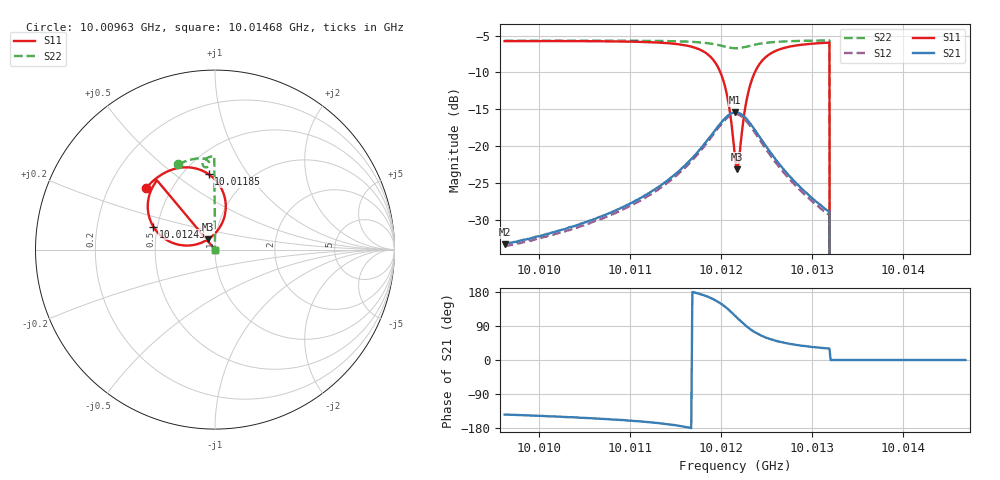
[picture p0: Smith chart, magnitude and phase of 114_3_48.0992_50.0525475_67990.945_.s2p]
#  HZ  S  RI  R  50.00
! Rohde & Schwarz Vector Network Analyzer
! Rohde-Schwarz,ZNB20-2Port,1311601062101988,3.16
! Created: UTC 12/23/2023, 3:46:06 AM
! freq[Hz]  re:S11  im:S11  re:S21  im:S21  re:S12  im:S12  re:S22  im:S22
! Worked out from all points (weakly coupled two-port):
!   401 points, 10.00963 GHz to 10.01468 GHz, reference 50 ohm
!   highest |S21| = -15.42 dB at 10.01215 GHz (marker M1); lowest = -33.3 dB at 10.00963 GHz (marker M2)
!   lowest |S11| = -23.2 dB at 10.01218 GHz (marker M3), VSWR 1.15, Z = 45.8 + j5.21 ohm
!   |S11| at or under -10 dB: 10.01199 GHz to 10.01237 GHz (377.4 kHz wide, 0.00377 % of centre); 10.01319 GHz to end of sweep
!   |S22| runs from - to -5.7 dB; largest |S21 - S12| = 0.008
!   S11 on the Smith chart (normalised r, x): 10.00963 GHz: 0.36, +0.34; 10.01185 GHz: 0.66, +0.67; 10.01243 GHz: 0.48, +0.14; 10.01468 GHz: 1.00, +0.00
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1.0009628e10  -0.3849 0.3426  -0.0175 -0.0127  -0.0163 -0.0132  -0.2043 0.4763
1.0010474e10  -0.3296 0.3954  -0.0266 -0.0137  -0.0249 -0.0145  -0.1508 0.4964
1.0010916e10  -0.2873 0.4242  -0.0356 -0.0142  -0.0338 -0.0151  -0.1209 0.5044
1.0011321e10  -0.227 0.4494  -0.0517 -0.0123  -0.0492 -0.0143  -0.0906 0.5088
1.0011624e10  -0.1451 0.4581  -0.0758 -0.00365  -0.0728 -0.00722  -0.0642 0.5075
1.0011851e10  -0.0347 0.4196  -0.1068 0.0235  -0.1047 0.0177  -0.0417 0.4975
1.0011965e10  0.0336 0.3439  -0.1212 0.0594  -0.121 0.052  -0.033 0.4846
1.0012041e10  0.0598 0.2525  -0.1202 0.0952  -0.1214 0.0874  -0.0326 0.4726
1.0012091e10  0.0507 0.1761  -0.1079 0.1226  -0.1102 0.1154  -0.0367 0.4644
1.0012154e10  -0.00536 0.0843  -0.0768 0.1509  -0.0805 0.1441  -0.0468 0.4585
1.001218e10  -0.0404 0.0566  -0.0607 0.1577  -0.0649 0.1512  -0.0516 0.458
1.0012205e10  -0.0798 0.0366  -0.0444 0.1609  -0.0479 0.155  -0.0563 0.4591
1.0012255e10  -0.1638 0.0225  -0.0115 0.1581  -0.0157 0.1527  -0.0641 0.4643
1.0012306e10  -0.2372 0.0377  0.0152 0.1457  0.0096 0.1407  -0.0685 0.472
1.0012357e10  -0.2926 0.0697  0.033 0.1288  0.0277 0.1246  -0.0697 0.4803
1.0012432e10  -0.3435 0.1281  0.047 0.1033  0.0412 0.1006  -0.0668 0.4908
1.0012635e10  -0.3745 0.2514  0.0504 0.0572  0.0457 0.0566  -0.0502 0.5079
1.0013001e10  -0.3427 0.3571  0.0366 0.0252  0.0336 0.0256  -0.0187 0.5184
1.0013165e10  -0.3258 0.3826  0.0316 0.0187  0.0291 0.0193  -0.00589 0.5202
1.0013228e10  0 0  0 0  0 0  0 0
1.0013847e10  0 0  0 0  0 0  0 0
1.0014681e10  0 0  0 0  0 0  0 0
